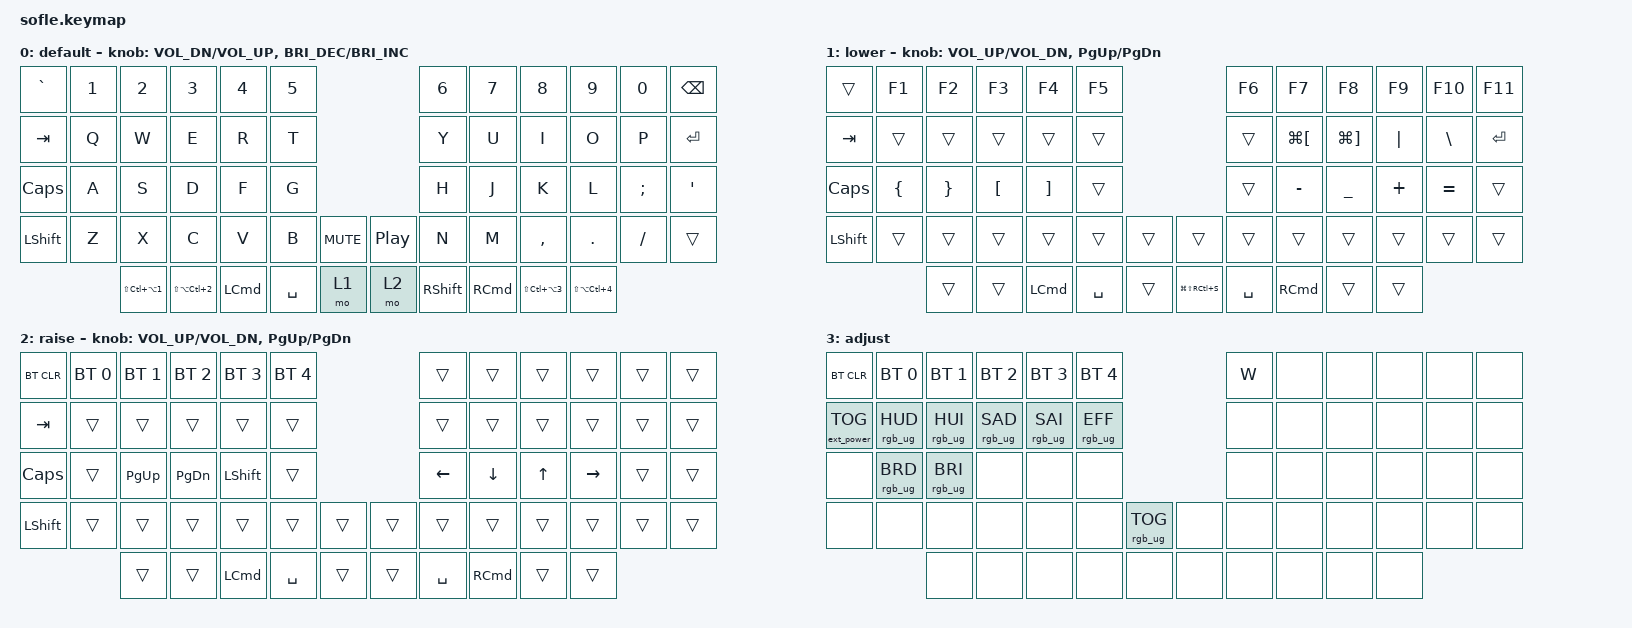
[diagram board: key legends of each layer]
/*
 * Copyright (c) 2020 The ZMK Contributors
 *
 * SPDX-License-Identifier: MIT
 */

#include <behaviors.dtsi>
#include <dt-bindings/zmk/bt.h>
#include <dt-bindings/zmk/ext_power.h>
#include <dt-bindings/zmk/keys.h>
#include <dt-bindings/zmk/rgb.h>

#define BASE 0
#define LOWER 1
#define RAISE 2
#define ADJUST 3

/ {
    // Activate ADJUST layer by pressing raise and lower

    conditional_layers {
        compatible = "zmk,conditional-layers";

        adjust_layer {
            if-layers = <LOWER RAISE>;
            then-layer = <ADJUST>;
        };
    };

    keymap {
        compatible = "zmk,keymap";

        default_layer {
            label = "default";

            // ------------------------------------------------------------------------------------------------------------
            // |   `   |  1  |  2  |  3   |  4   |  5   |                   |  6   |  7    |  8    |  9   |   0   |       |
            // |  ESC  |  Q  |  W  |  E   |  R   |  T   |                   |  Y   |  U    |  I    |  O   |   P   | BKSPC |
            // |  TAB  |  A  |  S  |  D   |  F   |  G   |                   |  H   |  J    |  K    |  L   |   ;   |   '   |
            // | SHIFT |  Z  |  X  |  C   |  V   |  B   |  MUTE  |  |       |  N   |  M    |  ,    |  .   |   /   | SHIFT |
            //               | GUI | ALT  | CTRL | LOWER|  ENTER |  | SPACE | RAISE| CTRL  | ALT   | GUI  |

            bindings = <
&kp GRAVE       &kp N1  &kp N2                    &kp N3                    &kp N4            &kp N5                                     &kp N6           &kp N7             &kp N8                    &kp N9                    &kp N0    &kp BACKSPACE
&kp TAB         &kp Q   &kp W                     &kp E                     &kp R             &kp T                                      &kp Y            &kp U              &kp I                     &kp O                     &kp P     &kp ENTER
&kp CAPSLOCK    &kp A   &kp S                     &kp D                     &kp F             &kp G                                      &kp H            &kp J              &kp K                     &kp L                     &kp SEMI  &kp SQT
&kp LEFT_SHIFT  &kp Z   &kp X                     &kp C                     &kp V             &kp B      &kp C_MUTE    &kp C_PLAY_PAUSE  &kp N            &kp M              &kp COMMA                 &kp DOT                   &kp FSLH  &trans
                        &kp LS(LC(LA(NUMBER_1)))  &kp LS(LA(LC(NUMBER_2)))  &kp LEFT_COMMAND  &kp SPACE  &mo 1         &mo 2             &kp RIGHT_SHIFT  &kp RIGHT_COMMAND  &kp LS(LC(LA(NUMBER_3)))  &kp LS(LA(LC(NUMBER_4)))
            >;

            sensor-bindings =
                <&inc_dec_kp C_VOL_DN C_VOL_UP>,
                <&inc_dec_kp C_BRIGHTNESS_DEC C_BRIGHTNESS_INC>;
        };

        lower_layer {
            label = "lower";

            // TODO: Some binds are waiting for shifted keycode support.
            // ------------------------------------------------------------------------------------------------------------
            // |       |  F1 |  F2 |  F3  |  F4  |  F5  |                   |  F6  |  F7   |  F8   |  F9  |  F10  |  F11  |
            // |   `   |  1  |  2  |  3   |  4   |  5   |                   |  6   |  7    |  8    |  9   |   0   |  F12  |
            // |       |  !  |  @  |  #   |  $   |  %   |                   |  ^   |  &    |  *    |  (   |   )   |   |   |
            // |       |  =  |  -  |  +   |  {   |  }   |        |  |       |  [   |  ]    |  ;    |  :   |   \   |       |
            //               |     |      |      |      |        |  |       |      |       |       |      |

            bindings = <
&trans          &kp F1          &kp F2           &kp F3            &kp F4             &kp F5                                  &kp F6     &kp F7                &kp F8                 &kp F9    &kp F10        &kp F11
&kp TAB         &trans          &trans           &trans            &trans             &trans                                  &trans     &kp LG(LEFT_BRACKET)  &kp LG(RIGHT_BRACKET)  &kp PIPE  &kp BACKSLASH  &kp ENTER
&kp CAPSLOCK    &kp LEFT_BRACE  &kp RIGHT_BRACE  &kp LEFT_BRACKET  &kp RIGHT_BRACKET  &trans                                  &trans     &kp MINUS             &kp UNDERSCORE         &kp PLUS  &kp EQUAL      &trans
&kp LEFT_SHIFT  &trans          &trans           &trans            &trans             &trans     &trans    &trans             &trans     &trans                &trans                 &trans    &trans         &trans
                                &trans           &trans            &kp LEFT_COMMAND   &kp SPACE  &trans    &kp LG(LS(RC(S)))  &kp SPACE  &kp RIGHT_COMMAND     &trans                 &trans
            >;

            sensor-bindings = <&inc_dec_kp C_VOL_UP C_VOL_DN &inc_dec_kp PG_UP PG_DN>;
        };

        raise_layer {
            label = "raise";

            // ------------------------------------------------------------------------------------------------------------
            // | BTCLR | BT1  | BT2  |  BT3  |  BT4  |  BT5 |                |      |      |       |      |       |       |
            // |       | INS  | PSCR | GUI   |       |      |                | PGUP |      |   ^   |      |       |       |
            // |       | ALT  | CTRL | SHIFT |       | CAPS |                | PGDN |   <- |   v   |  ->  |  DEL  | BKSPC |
            // |       | UNDO | CUT  | COPY  | PASTE |      |      |  |      |      |      |       |      |       |       |
            //                |      |       |       |      |      |  |      |      |      |       |      |

            bindings = <
&bt BT_CLR      &bt BT_SEL 0  &bt BT_SEL 1  &bt BT_SEL 2  &bt BT_SEL 3      &bt BT_SEL 4                    &trans     &trans             &trans        &trans     &trans  &trans
&kp TAB         &trans        &trans        &trans        &trans            &trans                          &trans     &trans             &trans        &trans     &trans  &trans
&kp CAPS        &trans        &kp PG_UP     &kp PG_DN     &kp LEFT_SHIFT    &trans                          &kp LEFT   &kp DOWN           &kp UP_ARROW  &kp RIGHT  &trans  &trans
&kp LEFT_SHIFT  &trans        &trans        &trans        &trans            &trans        &trans    &trans  &trans     &trans             &trans        &trans     &trans  &trans
                              &trans        &trans        &kp LEFT_COMMAND  &kp SPACE     &trans    &trans  &kp SPACE  &kp RIGHT_COMMAND  &trans        &trans
            >;

            sensor-bindings = <&inc_dec_kp C_VOL_UP C_VOL_DN &inc_dec_kp PG_UP PG_DN>;
        };

        adjust_layer {
            // ----------------------------------------------------------------------------------------------------------------------------
            // | BTCLR  |  BT1    |  BT2    |   BT3   |   BT4   |   BT5   |                  |      |      |       |      |       |       |
            // | EXTPWR | RGB_HUD | RGB_HUI | RGB_SAD | RGB_SAI | RGB_EFF |                  |      |      |       |      |       |       |
            // |        | RGB_BRD | RGB_BRI |         |         |         |                  |      |      |       |      |       |       |
            // |        |         |         |         |         |         | RGB_TOG | |      |      |      |       |      |       |       |
            //                    |         |         |         |         |         | |      |      |      |       |      |

            label = "adjust";
            bindings = <
&bt BT_CLR         &bt BT_SEL 0     &bt BT_SEL 1     &bt BT_SEL 2     &bt BT_SEL 3     &bt BT_SEL 4                               &kp W  &none  &none  &none  &none  &none
&ext_power EP_TOG  &rgb_ug RGB_HUD  &rgb_ug RGB_HUI  &rgb_ug RGB_SAD  &rgb_ug RGB_SAI  &rgb_ug RGB_EFF                            &none  &none  &none  &none  &none  &none
&none              &rgb_ug RGB_BRD  &rgb_ug RGB_BRI  &none            &none            &none                                      &none  &none  &none  &none  &none  &none
&none              &none            &none            &none            &none            &none            &rgb_ug RGB_TOG    &none  &none  &none  &none  &none  &none  &none
                                    &none            &none            &none            &none            &none              &none  &none  &none  &none  &none
            >;
        };
    };
};
